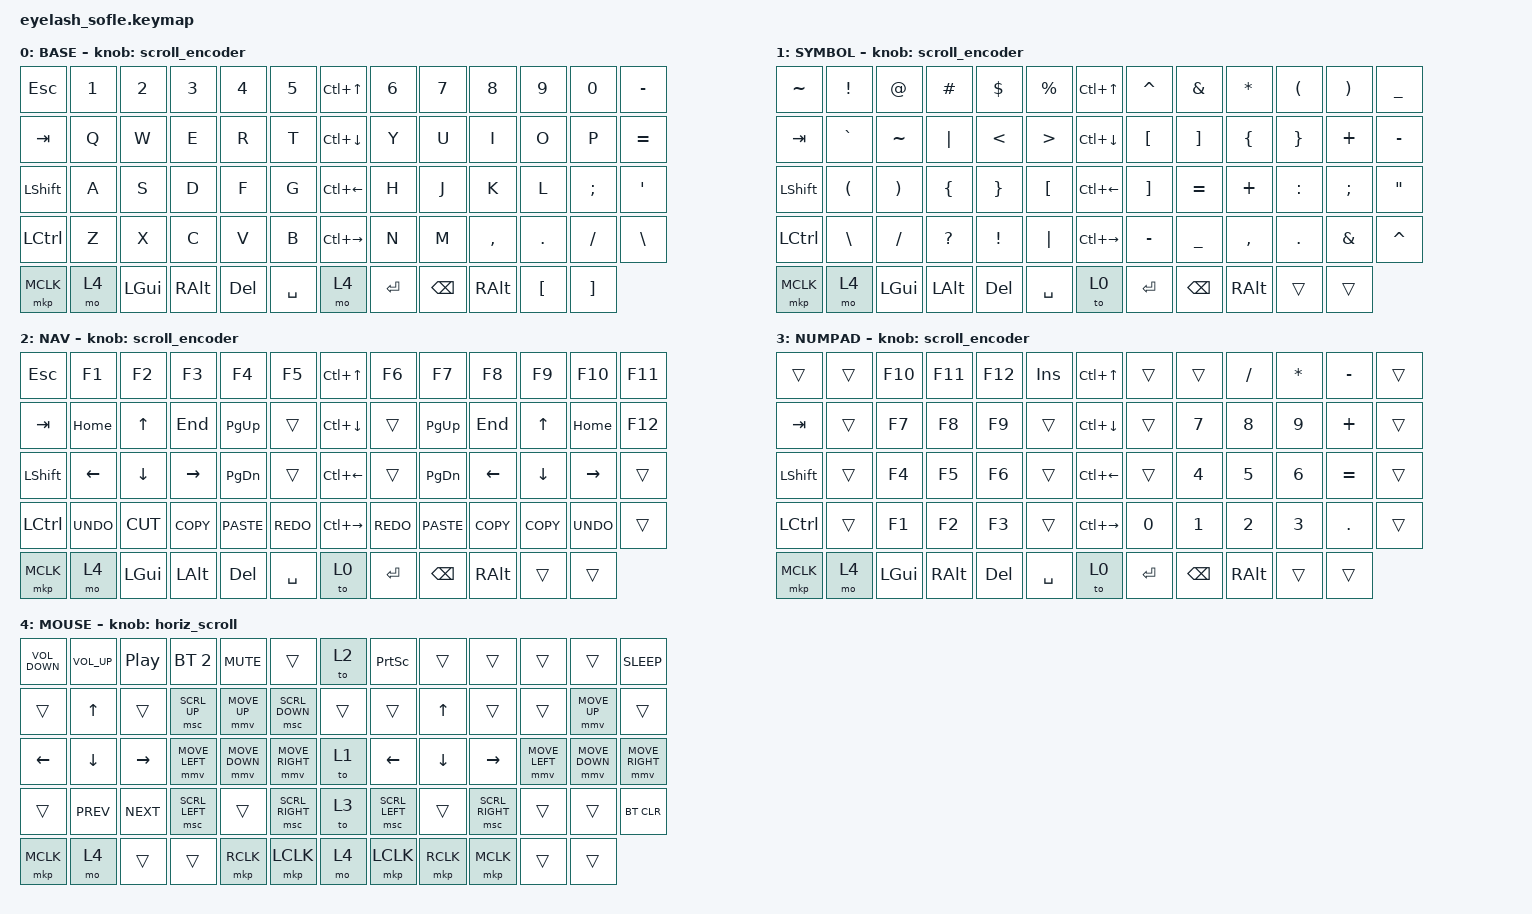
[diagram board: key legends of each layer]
#define ZMK_POINTING_DEFAULT_MOVE_VAL 1200
#define ZMK_POINTING_DEFAULT_SCRL_VAL 25

#include <input/processors.dtsi>
#include <zephyr/dt-bindings/input/input-event-codes.h>
#include <behaviors.dtsi>
#include <dt-bindings/zmk/bt.h>
#include <dt-bindings/zmk/keys.h>
#include <dt-bindings/zmk/pointing.h>

&mmv_input_listener { input-processors = <&zip_xy_scaler 2 1>; };

&msc_input_listener { input-processors = <&zip_scroll_scaler 2 1>; };

&msc {
    acceleration-exponent = <1>;
    time-to-max-speed-ms = <100>;
    delay-ms = <0>;
};

&mmv {
    time-to-max-speed-ms = <400>;
    acceleration-exponent = <1>;
    trigger-period-ms = <16>;
};

/ {
    /* ─── 인코더 센서 ──────────────────────────────────────────────────────── */

    scroll_encoder: scroll_encoder {
        compatible = "zmk,behavior-sensor-rotate";
        #sensor-binding-cells = <0>;
        bindings = <&msc SCRL_DOWN>, <&msc SCRL_UP>;

        tap-ms = <100>;
    };

    horiz_scroll: horiz_scroll {
        compatible = "zmk,behavior-sensor-rotate";
        #sensor-binding-cells = <0>;
        bindings = <&msc SCRL_RIGHT>, <&msc SCRL_LEFT>;

        tap-ms = <100>;
        label = "HORIZ_SCROLL";
    };

    /* ─── Behaviors ────────────────────────────────────────────────────────── */

    behaviors {
    };

    keymap {
        compatible = "zmk,keymap";

        /* ══════════════════════════════════════════════════════════════════
         * LAYER 0 — BASE (QWERTY)
         * ══════════════════════════════════════════════════════════════════
         */

        layer0 {
            display-name = "BASE";
            bindings = <
&kp ESC    &kp N1  &kp N2    &kp N3    &kp N4   &kp N5       &kp LC(UP_ARROW)  &kp N6   &kp N7    &kp N8     &kp N9    &kp N0    &kp MINUS
&kp TAB    &kp Q   &kp W     &kp E     &kp R    &kp T        &kp LC(DOWN)      &kp Y    &kp U     &kp I      &kp O     &kp P     &kp EQUAL
&kp LSHFT  &kp A   &kp S     &kp D     &kp F    &kp G        &kp LC(LEFT)      &kp H    &kp J     &kp K      &kp L     &kp SEMI  &kp APOS
&kp LCTRL  &kp Z   &kp X     &kp C     &kp V    &kp B        &kp LC(RIGHT)     &kp N    &kp M     &kp COMMA  &kp DOT   &kp FSLH  &kp BSLH
&mkp MCLK  &mo 4   &kp LGUI  &kp RALT  &kp DEL  &kp SPACE    &mo 4             &kp RET  &kp BSPC  &kp RALT   &kp LBKT  &kp RBKT
            >;

            sensor-bindings = <&scroll_encoder>;
        };

        /* ══════════════════════════════════════════════════════════════════
         * LAYER 1 — SYMBOL
         * ══════════════════════════════════════════════════════════════════
         */

        layer1 {
            display-name = "SYMBOL";
            bindings = <
&kp TILDE  &kp EXCL   &kp AT     &kp HASH   &kp DLLR  &kp PRCNT    &kp LC(UP)     &kp CARET  &kp AMPS   &kp ASTRK  &kp LPAR   &kp RPAR  &kp UNDER
&kp TAB    &kp GRAVE  &kp TILDE  &kp PIPE   &kp LT    &kp GT       &kp LC(DOWN)   &kp LBKT   &kp RBKT   &kp LBRC   &kp RBRC   &kp PLUS  &kp MINUS
&kp LSHFT  &kp LPAR   &kp RPAR   &kp LBRC   &kp RBRC  &kp LBKT     &kp LC(LEFT)   &kp RBKT   &kp EQUAL  &kp PLUS   &kp COLON  &kp SEMI  &kp DQT
&kp LCTRL  &kp BSLH   &kp FSLH   &kp QMARK  &kp EXCL  &kp PIPE     &kp LC(RIGHT)  &kp MINUS  &kp UNDER  &kp COMMA  &kp DOT    &kp AMPS  &kp CARET
&mkp MCLK  &mo 4      &kp LGUI   &kp LALT   &kp DEL   &kp SPACE    &to 0          &kp RET    &kp BSPC   &kp RALT   &trans     &trans
            >;

            sensor-bindings = <&scroll_encoder>;
        };

        /* ══════════════════════════════════════════════════════════════════
         * LAYER 2 — NAV (Symmetrical Layout)
         * ══════════════════════════════════════════════════════════════════
         */

        layer2 {
            display-name = "NAV";
            bindings = <
&kp ESC    &kp F1      &kp F2     &kp F3      &kp F4       &kp F5        &kp LC(UP)     &kp F6      &kp F7         &kp F8      &kp F9      &kp F10     &kp F11
&kp TAB    &kp HOME    &kp UP     &kp END     &kp PG_UP    &trans        &kp LC(DOWN)   &trans      &kp PG_UP      &kp END     &kp UP      &kp HOME    &kp F12
&kp LSHFT  &kp LEFT    &kp DOWN   &kp RIGHT   &kp PG_DN    &trans        &kp LC(LEFT)   &trans      &kp PAGE_DOWN  &kp LEFT    &kp DOWN    &kp RIGHT   &trans
&kp LCTRL  &kp K_UNDO  &kp K_CUT  &kp K_COPY  &kp K_PASTE  &kp K_REDO    &kp LC(RIGHT)  &kp K_REDO  &kp K_PASTE    &kp K_COPY  &kp K_COPY  &kp K_UNDO  &trans
&mkp MCLK  &mo 4       &kp LGUI   &kp LALT    &kp DEL      &kp SPACE     &to 0          &kp RET     &kp BSPC       &kp RALT    &trans      &trans
            >;

            sensor-bindings = <&scroll_encoder>;
        };

        /* ══════════════════════════════════════════════════════════════════
         * LAYER 3 — NUMPAD
         * ══════════════════════════════════════════════════════════════════
         */

        layer3 {
            display-name = "NUMPAD";
            bindings = <
&trans     &trans  &kp F10   &kp F11   &kp F12     &kp INSERT    &kp LC(UP)     &trans   &trans    &kp SLASH  &kp ASTERISK  &kp MINUS  &trans
&kp TAB    &trans  &kp F7    &kp F8    &kp F9      &trans        &kp LC(DOWN)   &trans   &kp N7    &kp N8     &kp N9        &kp PLUS   &trans
&kp LSHFT  &trans  &kp F4    &kp F5    &kp F6      &trans        &kp LC(LEFT)   &trans   &kp N4    &kp N5     &kp N6        &kp EQUAL  &trans
&kp LCTRL  &trans  &kp F1    &kp F2    &kp F3      &trans        &kp LC(RIGHT)  &kp N0   &kp N1    &kp N2     &kp N3        &kp DOT    &trans
&mkp MCLK  &mo 4   &kp LGUI  &kp RALT  &kp DELETE  &kp SPACE     &to 0          &kp RET  &kp BSPC  &kp RALT   &trans        &trans
            >;

            sensor-bindings = <&scroll_encoder>;
        };

        /* ══════════════════════════════════════════════════════════════════
         * LAYER 4 — MOUSE + MEDIA (Vertical Alignment Corrected)
         * ══════════════════════════════════════════════════════════════════
         */

        layer4 {
            display-name = "MOUSE";
            bindings = <
&kp C_VOLUME_DOWN  &kp C_VOLUME_UP  &kp C_PP    &bt BT_SEL 2    &kp C_MUTE      &trans             &to 2   &kp PRINTSCREEN  &trans        &trans           &trans          &trans          &kp C_SLEEP
&trans             &kp UP_ARROW     &trans      &msc SCRL_UP    &mmv MOVE_UP    &msc SCRL_DOWN     &trans  &trans           &kp UP_ARROW  &trans           &trans          &mmv MOVE_UP    &trans
&kp LEFT           &kp DOWN         &kp RIGHT   &mmv MOVE_LEFT  &mmv MOVE_DOWN  &mmv MOVE_RIGHT    &to 1   &kp LEFT         &kp DOWN      &kp RIGHT        &mmv MOVE_LEFT  &mmv MOVE_DOWN  &mmv MOVE_RIGHT
&trans             &kp C_PREV       &kp C_NEXT  &msc SCRL_LEFT  &trans          &msc SCRL_RIGHT    &to 3   &msc SCRL_LEFT   &trans        &msc SCRL_RIGHT  &trans          &trans          &bt BT_CLR
&mkp MCLK          &mo 4            &trans      &trans          &mkp RCLK       &mkp LCLK          &mo 4   &mkp LCLK        &mkp RCLK     &mkp MCLK        &trans          &trans
            >;

            sensor-bindings = <&horiz_scroll>;
        };

        /* ══════════════════════════════════════════════════════════════════
         * LAYER 5 — FUNCTION (PLC Ladder Optimized)
         * ══════════════════════════════════════════════════════════════════
         */
    };
};
